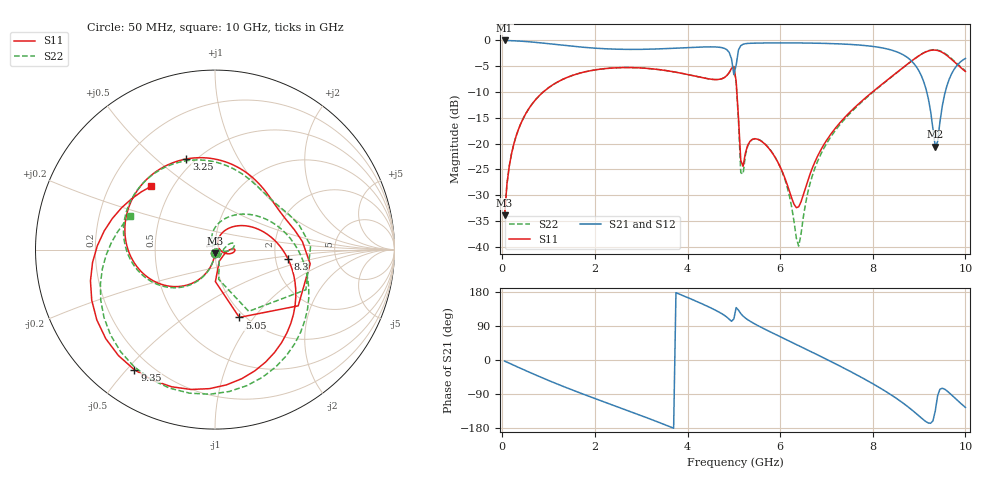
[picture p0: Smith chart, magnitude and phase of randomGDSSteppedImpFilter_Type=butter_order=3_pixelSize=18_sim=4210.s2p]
! freq	dB(S11)	phase(S11)	dB(S12)	phase(S12)
!  dB(S21)	phase(S21)	dB(S22)	phase(S22)
!S-par simulation data
#  GHz  S  DB  R 50
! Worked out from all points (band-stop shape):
!   200 points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, 50 MHz to 10 GHz, reference 50 ohm
!   highest |S21| = 0.00 dB at 50 MHz (marker M1); lowest = -20.6 dB at 9.35 GHz (marker M2)
!   |S21| within 3 dB of the highest: start of sweep to 4.927 GHz; 5.08 GHz to 8.698 GHz (3.617 GHz wide, 52.5 % of centre)
!   lowest |S11| = -33.9 dB at 50 MHz (marker M3), VSWR 1.04, Z = 49.9 - j2.01 ohm
!   |S11| at or under -10 dB: start of sweep to 884.2 MHz; 5.065 GHz to 7.993 GHz (2.928 GHz wide, 44.8 % of centre)
!   |S22| runs from -39.9 to -1.8 dB; largest |S21 - S12| = 0
!   S11 on the Smith chart (normalised r, x): 50 MHz: 1.00, -0.04; 3.25 GHz: 0.45, +0.63; 5.05 GHz: 0.94, -0.85; 8.3 GHz: 2.34, -0.28; 9.35 GHz: 0.14, -0.53; 10 GHz: 0.38, +0.36
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0.05  -33.91 -92.9  -0.00 -2.8  -0.00 -2.8  -33.91 -92.8
0.2  -21.95 -101.8  -0.05 -11.2  -0.05 -11.2  -21.95 -101.4
0.5  -14.31 -118.7  -0.21 -27.7  -0.21 -27.7  -14.31 -117.8
1.75  -6.17 177.5  -1.33 -90.2  -1.33 -90.2  -6.17 -179.1
3.25  -5.52 107.6  -1.68 -158.4  -1.68 -158.4  -5.52 115.0
3.4  -5.67 100.3  -1.63 -165.5  -1.63 -165.5  -5.67 108.2
4.75  -7.40 24.5  -1.42 121.4  -1.42 121.4  -7.40 36.2
4.95  -5.41 -8.5  -3.59 102.3  -3.59 102.3  -5.46 2.4
5.05  -7.93 -70.3  -4.79 138.3  -4.79 138.3  -8.14 -61.3
5.15  -23.30 -69.5  -1.01 122.5  -1.01 122.5  -25.66 -62.8
5.4  -19.18 0.7  -0.53 98.7  -0.53 98.7  -19.19 18.1
5.75  -20.86 -14.0  -0.49 76.4  -0.49 76.4  -20.81 0.5
6.1  -26.64 -18.8  -0.48 55.6  -0.48 55.6  -26.89 -12.7
6.4  -32.26 36.5  -0.49 37.9  -0.49 37.9  -39.90 53.7
6.7  -24.63 71.9  -0.52 20.1  -0.52 20.1  -26.08 108.9
7.45  -14.41 44.5  -0.74 -26.0  -0.74 -26.0  -14.69 71.3
8.3  -7.77 -7.0  -1.63 -84.5  -1.63 -84.5  -7.84 12.7
8.35  -7.42 -10.6  -1.74 -88.3  -1.74 -88.3  -7.47 8.7
8.9  -3.58 -60.0  -4.61 -137.4  -4.61 -137.4  -3.57 -43.9
9.35  -1.87 -123.9  -20.62 -134.1  -20.62 -134.1  -1.81 -108.1
9.65  -3.27 -174.0  -7.52 -86.4  -7.52 -86.4  -3.15 -156.1
10  -6.02 135.0  -3.50 -125.1  -3.50 -125.1  -5.88 158.3
